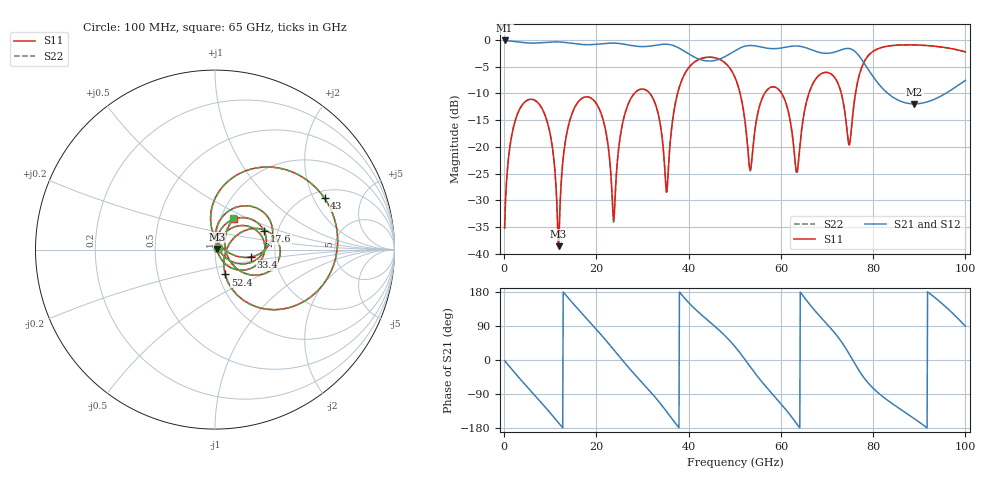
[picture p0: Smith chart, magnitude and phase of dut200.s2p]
! Touchstone file exported from HFSS 2026.1.0
!  File:  C:/ffzhzh/LocalFiles/Ansys_Project_Files/temp_train_TSV_RDL_200_1783658207_26216.aedt
!  Generated:  12:58:31 PM Jul 10, 2026
!  Design:  TSV_RDL
!  Project:  temp_train_TSV_RDL_200_1783658207_26216
! Variables:
!  h_bsmrdl = 5um
!  h_ox = 20um
!  h_rdl = 5um
!  h_sub = 96.13um
!  h_tmrdl = 3.44um
!  h_tsv = 96.13um
!  h_via = 3um
!  l_bsmrdl = 412.77um
!  l_sub = 4512.38um
!  l_tmrdl = 675.91um
!  m_sub = 200um
!  pitch = 44.89um
!  r_tsv = 13.58um
!  s_tmrdl = 10um
!  w_bsmrdl = 28.43um
!  w_sub = 500um
!  w_tmrdl = 28.38um
!  x_tsv_center1 = 690.1um
!  x_tsv_center2 = 1131.3um
!  x_tsv_center3 = 1835.59um
!  x_tsv_center4 = 2276.79um
!  x_tsv_center5 = 2981.08um
!  x_tsv_center6 = 3422.28um
# GHz S MA R 50.000000
! Terminal data exported
! Port[1] = TM_RDL1_1_T1
! Port[2] = TM_RDL5_1_T1
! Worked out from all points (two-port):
!   1000 points, 100 MHz to 100 GHz, reference 50 ohm
!   highest |S21| = -0.13 dB at 100 MHz (marker M1); lowest = -12.0 dB at 88.9 GHz (marker M2)
!   |S21| within 3 dB of the highest: start of sweep to 41 GHz; 47.92 GHz to 77.05 GHz (29.13 GHz wide, 46.6 % of centre)
!   lowest |S11| = -38.6 dB at 11.8 GHz (marker M3), VSWR 1.02, Z = 51.1 + j0.378 ohm
!   |S11| at or under -10 dB: start of sweep to 28.25 GHz; 31.57 GHz to 37.6 GHz (6.032 GHz wide, 17.4 % of centre); 60.16 GHz to 66.08 GHz (5.919 GHz wide, 9.38 % of centre) (the widest 3 of 5)
!   |S22| runs from -38.3 to -0.9 dB; largest |S21 - S12| = 3.1e-12
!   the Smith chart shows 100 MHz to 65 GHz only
!   S11 on the Smith chart (normalised r, x): 100 MHz: 1.03, +0.02; 17.6 GHz: 1.70, +0.39; 33.4 GHz: 1.49, -0.13; 43 GHz: 2.34, +2.45; 52.4 GHz: 1.08, -0.30; 65 GHz: 1.16, +0.42
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0.1  0.01743 33.1  0.9856 -1.6  0.9856 -1.6  0.01743 33.1
! Gamma 0 0 0 0
! Port Impedance 50 0 50 0
2.1  0.1577 51.2  0.9652 -30.9  0.9652 -30.9  0.1577 51.2
5.9  0.2782 2.9  0.9316 -83.1  0.9316 -83.1  0.2782 2.9
11.8  0.01181 18.2  0.9541 -165.9  0.9541 -165.9  0.01218 18.2
16.8  0.2825 30.8  0.9041 123.9  0.9041 123.9  0.2826 30.7
17.6  0.2925 20.8  0.9003 113.2  0.9003 113.2  0.2926 20.6
23.7  0.02079 15.7  0.9317 27.8  0.9317 27.8  0.01979 14.8
25.3  0.1359 84.1  0.9192 4.1  0.9192 4.1  0.1357 84.5
33.4  0.2031 -11.8  0.8967 -107.7  0.8967 -107.7  0.2031 -11.6
35.3  0.03883 54.4  0.9082 -137.4  0.9082 -137.4  0.03933 54.2
37.9  0.3518 83.2  0.8374 -179.0  0.8374 -179.0  0.3518 83.1
43  0.6741 25.1  0.6448 116.8  0.6448 116.8  0.6741 25.0
50.1  0.4391 -49.0  0.7926 34.5  0.7926 34.5  0.4389 -49.2
52.4  0.1497 -67.5  0.8752 -2.0  0.8752 -2.0  0.1491 -68.1
58.6  0.3624 -6.1  0.8266 -95.7  0.8266 -95.7  0.3624 -6.1
63.4  0.05816 3.9  0.875 -167.7  0.875 -167.7  0.05625 3.6
65  0.2025 58.6  0.8531 166.2  0.8531 166.2  0.2017 59.3
66.7  0.371 42.0  0.8045 139.9  0.8045 139.9  0.3706 42.5
75.1  0.1214 36.2  0.8227 9.9  0.8227 9.9  0.1259 35.3
83.4  0.8752 -22.0  0.3103 -108.7  0.3103 -108.7  0.8753 -22.0
88.9  0.8954 -64.7  0.2521 -154.6  0.2521 -154.6  0.8954 -64.7
100  0.77 -177.1  0.4175 89.2  0.4175 89.2  0.7695 -177.0
